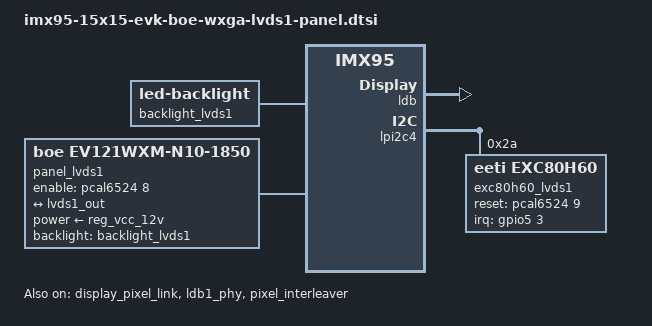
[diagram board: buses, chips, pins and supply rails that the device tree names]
// SPDX-License-Identifier: GPL-2.0+
/*
 * Copyright 2024 NXP
 */

/ {
	backlight_lvds1: backlight-lvds1 {
		compatible = "led-backlight";
		leds = <&led_backlight1>;
		brightness-levels = <0 4 8 16 32 64 128 255>;
		default-brightness-level = <6>;
	};

	panel_lvds1: panel-lvds1 {
		compatible = "boe,ev121wxm-n10-1850";
		backlight = <&backlight_lvds1>;
		power-supply = <&reg_vcc_12v>;
		enable-gpios = <&pcal6524 8 GPIO_ACTIVE_HIGH>;

		port {
			panel_lvds1_in: endpoint {
				remote-endpoint = <&lvds1_out>;
			};
		};
	};
};

&display_pixel_link {
	status = "okay";
};

&ldb {
	#address-cells = <1>;
	#size-cells = <0>;
	assigned-clocks = <&scmi_clk IMX95_CLK_LDBPLL_VCO>,
			  <&scmi_clk IMX95_CLK_LDBPLL>;
	assigned-clock-rates = <2982000000>, <497000000>;
	status = "okay";

	channel@1 {
		#address-cells = <1>;
		#size-cells = <0>;
		reg = <1>;
		status = "okay";

		port@1 {
			reg = <1>;

			lvds1_out: endpoint {
				remote-endpoint = <&panel_lvds1_in>;
			};
		};
	};
};

&ldb1_phy {
	status = "okay";
};

&lpi2c4 {
	#address-cells = <1>;
	#size-cells = <0>;

	exc80h60_lvds1: touch@2a {
		compatible = "eeti,exc80h60";
		reg = <0x2a>;
		pinctrl-names = "default";
		pinctrl-0 = <&pinctrl_ctp_int1>;
		interrupt-parent = <&gpio5>;
		interrupts = <3 IRQ_TYPE_LEVEL_LOW>;
		reset-gpios = <&pcal6524 9 GPIO_ACTIVE_HIGH>;
		touchscreen-size-x = <4096>;
		touchscreen-size-y = <4096>;
	};
};

&pixel_interleaver {
	#address-cells = <1>;
	#size-cells = <0>;
	status = "okay";

	channel@1 {
		reg = <1>;
		status = "okay";
	};
};

&scmi_iomuxc {
	pinctrl_ctp_int1: ctp_int_grp {
		fsl,pins = <
			IMX95_PAD_XSPI1_DATA3__GPIO5_IO_BIT3    0x31e
		>;
	};
};
